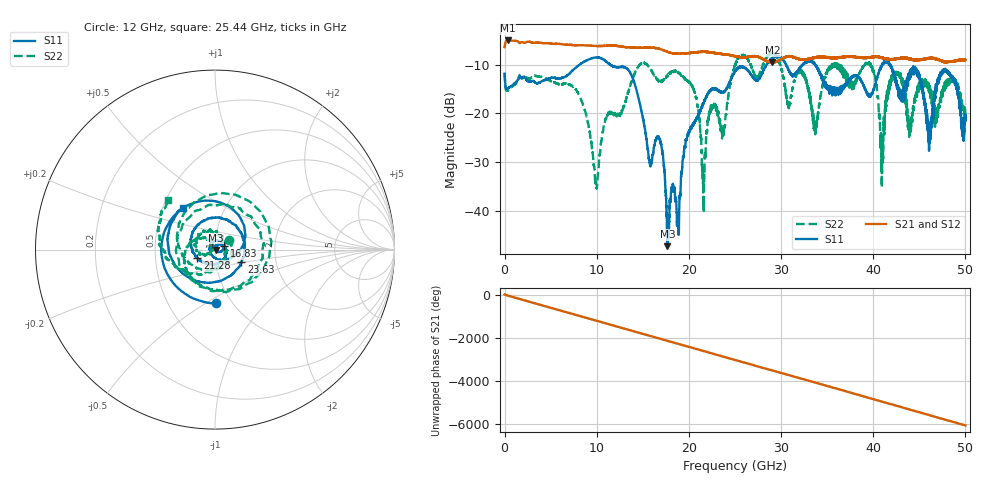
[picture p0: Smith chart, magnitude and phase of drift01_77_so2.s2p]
!Created with skrf (http://scikit-rf.org).
# Hz S RI R 50.0
!freq ReS11 ImS11 ReS21 ImS21 ReS12 ImS12 ReS22 ImS22
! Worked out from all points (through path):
!   10001 points, 300 kHz to 50 GHz, reference 50 ohm
!   highest |S21| = -5.05 dB at 345.3 MHz (marker M1); lowest = -9.6 dB at 29.06 GHz (marker M2)
!   group delay of S21, straight-line fit = 336 ps
!   lowest |S11| = -47.3 dB at 17.67 GHz (marker M3), VSWR 1.01, Z = 50.4 - j0.242 ohm
!   |S11| at or under -10 dB: start of sweep to 8.152 GHz; 11.43 GHz to 28.42 GHz (16.99 GHz wide, 85.3 % of centre); 41.84 GHz to end of sweep (the widest 3 of 13)
!   |S22| runs from -40.5 to -7.6 dB; largest |S21 - S12| = 0.017
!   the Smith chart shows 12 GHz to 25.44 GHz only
!   S11 on the Smith chart (normalised r, x): 12 GHz: 0.84, -0.55; 16.83 GHz: 1.11, +0.04; 21.28 GHz: 0.82, -0.08; 23.63 GHz: 1.33, -0.19; 25.44 GHz: 0.63, +0.32
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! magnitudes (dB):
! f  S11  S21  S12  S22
! 300 kHz  -11.9  -6.5  -6.5  -11.7
! 345.3 MHz  -14.9  -5.1  -5.1  -15.3
! 8.335 GHz  -9.7  -6.0  -6.0  -17.4
! 9.95 GHz  -8.6  -6.2  -6.2  -34.9
! 12 GHz  -10.5  -6.1  -6.1  -20.5
! 16.67 GHz  -24.8  -6.7  -6.7  -13.4
! 16.83 GHz  -25.2  -6.8  -6.8  -13.5
! 17.67 GHz  -47.3  -7.4  -7.4  -12.4
! 20.37 GHz  -22.5  -7.6  -7.6  -14.5
! 21.28 GHz  -19.3  -7.4  -7.4  -24.9
! 23.63 GHz  -15.8  -7.9  -7.8  -24.1
! 25 GHz  -11.4  -8.3  -8.3  -10.1
! 25.44 GHz  -10.7  -8.5  -8.5  -8.4
! 29.06 GHz  -8.7  -9.6  -9.6  -7.8
! 33.34 GHz  -9.4  -8.7  -8.7  -19.3
! 39.49 GHz  -16.3  -8.6  -8.5  -9.7
! 40.97 GHz  -10.1  -8.6  -8.6  -27.8
! 41.67 GHz  -9.5  -8.8  -8.9  -14.6
! 44.72 GHz  -11.7  -9.1  -9.1  -16.2
! 46.1 GHz  -24.2  -8.7  -8.7  -14.9
! 48.02 GHz  -11.6  -9.4  -9.4  -13.8
! 50 GHz  -20.9  -9.0  -9.1  -20.4
